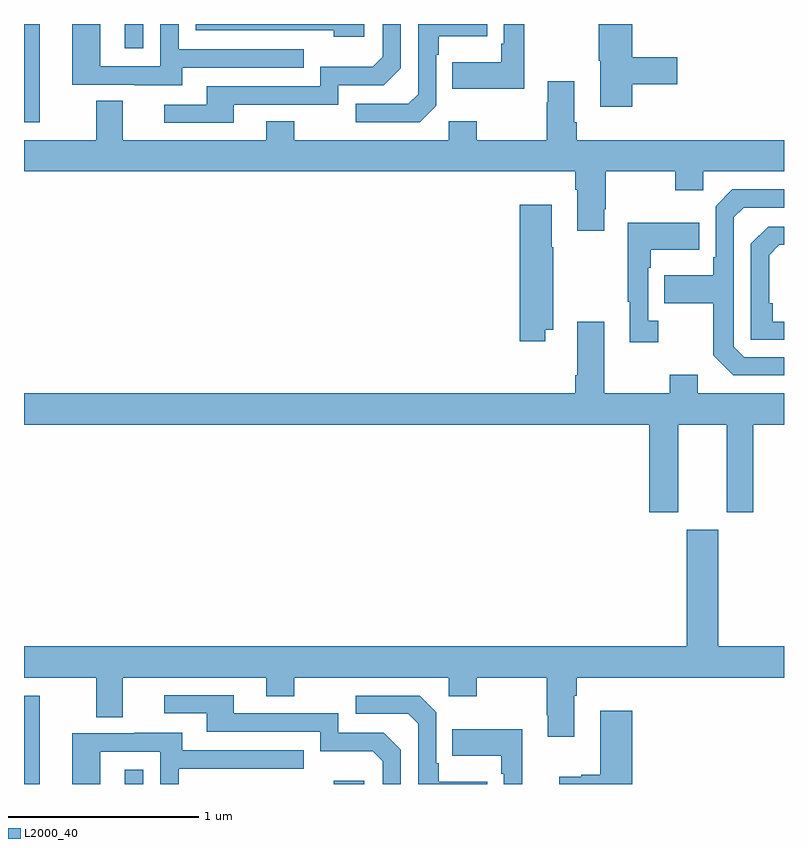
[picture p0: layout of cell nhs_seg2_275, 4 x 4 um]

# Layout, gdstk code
import gdstk
lib = gdstk.Library(unit=1e-6, precision=1e-09)
def R(c, l, rs):  # rectangles x0, y0, x1, y1
    for r in rs: c.add(gdstk.rectangle(r[:2], r[2:], *l))
def P(c, l, *ps):  # polygons
    for p in ps: c.add(gdstk.Polygon(p, *l))
L2000_40 = (2000, 40)

nhs_seg2_275 = lib.new_cell('nhs_seg2_275')
R(nhs_seg2_275, L2000_40, [(125,589.8,125.083,590.265), (125.531,589.8,125.628,589.876), (126.629,589.8,126.79,589.816), (125,593.283,125.083,593.8), (125.531,593.673,125.628,593.8)])
P(nhs_seg2_275, L2000_40, [(126.103,593.376),(126.654,593.376),(126.654,593.478),(126.894,593.478),(126.984,593.568),(126.984,593.8),(126.888,593.8),(126.888,593.628),(126.835,593.575),(126.558,593.575),(126.558,593.472),(125.963,593.472),(125.963,593.376),(125.739,593.376),(125.739,593.28),(126.103,593.28)],
  [(125.833,593.571),(126.473,593.571),(126.473,593.667),(125.814,593.667),(125.814,593.8),(125.718,593.8),(125.718,593.577),(125.4,593.577),(125.4,593.8),(125.255,593.8),(125.255,593.481),(125.579,593.481),(125.579,593.477),(125.833,593.477)],
  [(128.201,593.482),(128.437,593.482),(128.437,593.624),(128.201,593.624),(128.201,593.8),(128.026,593.8),(128.026,593.607),(128.033,593.607),(128.033,593.364),(128.201,593.364)],
  [(127.633,593.8),(127.524,593.8),(127.524,593.695),(127.512,593.695),(127.512,593.599),(127.255,593.599),(127.255,593.459),(127.633,593.459)],
  [(126.79,593.8),(125.904,593.8),(125.904,593.766),(126.629,593.766),(126.629,593.732),(126.79,593.732)],
  [(127.17,593.37),(127.17,593.639),(127.183,593.639),(127.183,593.735),(127.439,593.735),(127.439,593.8),(127.074,593.8),(127.074,593.43),(127.023,593.379),(126.747,593.379),(126.747,593.283),(127.083,593.283)],
  [(128.053,592.825),(128.061,592.825),(128.061,593.024),(128.428,593.024),(128.428,592.925),(128.574,592.925),(128.574,593.024),(129,593.024),(129,593.188),(127.91,593.188),(127.91,593.284),(127.897,593.284),(127.897,593.5),(127.757,593.5),(127.757,593.387),(127.75,593.387),(127.75,593.188),(127.383,593.188),(127.383,593.287),(127.236,593.287),(127.236,593.188),(126.423,593.188),(126.423,593.287),(126.275,593.287),(126.275,593.188),(125.521,593.188),(125.521,593.396),(125.381,593.396),(125.381,593.188),(125,593.188),(125,593.024),(127.901,593.024),(127.901,592.928),(127.913,592.928),(127.913,592.713),(128.053,592.713)],
  [(129,592.047),(128.79,592.047),(128.736,592.101),(128.736,592.782),(128.787,592.833),(129,592.833),(129,592.929),(128.727,592.929),(128.64,592.842),(128.64,592.573),(128.628,592.573),(128.628,592.477),(128.371,592.477),(128.371,592.33),(128.628,592.33),(128.628,592.057),(128.733,591.951),(129,591.951)],
  [(127.744,592.19),(127.785,592.19),(127.785,592.625),(127.777,592.625),(127.777,592.849),(127.61,592.849),(127.61,592.131),(127.744,592.131)],
  [(128.338,592.238),(128.286,592.238),(128.286,592.517),(128.299,592.517),(128.299,592.613),(128.555,592.613),(128.555,592.753),(128.178,592.753),(128.178,592.337),(128.189,592.337),(128.189,592.125),(128.338,592.125)],
  [(129,592.233),(128.942,592.233),(128.942,592.33),(128.922,592.33),(128.922,592.584),(128.975,592.637),(129,592.637),(129,592.734),(128.916,592.734),(128.826,592.644),(128.826,592.137),(129,592.137)],
  [(128.443,591.692),(128.699,591.692),(128.699,591.231),(128.839,591.231),(128.839,591.692),(129,591.692),(129,591.856),(128.545,591.856),(128.545,591.955),(128.398,591.955),(128.398,591.856),(128.053,591.856),(128.053,592.234),(127.913,592.234),(127.913,591.952),(127.901,591.952),(127.901,591.856),(125,591.856),(125,591.692),(128.291,591.692),(128.291,591.231),(128.443,591.231)],
  [(127.897,590.264),(127.91,590.264),(127.91,590.36),(129,590.36),(129,590.524),(128.653,590.524),(128.653,591.139),(128.489,591.139),(128.489,590.524),(125,590.524),(125,590.36),(125.381,590.36),(125.381,590.152),(125.521,590.152),(125.521,590.36),(126.275,590.36),(126.275,590.261),(126.423,590.261),(126.423,590.36),(127.236,590.36),(127.236,590.261),(127.383,590.261),(127.383,590.36),(127.75,590.36),(127.75,590.161),(127.757,590.161),(127.757,590.049),(127.897,590.049)],
  [(126.984,589.98),(126.894,590.07),(126.654,590.07),(126.654,590.172),(126.103,590.172),(126.103,590.268),(125.739,590.268),(125.739,590.172),(125.963,590.172),(125.963,590.076),(126.558,590.076),(126.558,589.973),(126.835,589.973),(126.888,589.92),(126.888,589.8),(126.984,589.8)],
  [(127.439,589.813),(127.183,589.813),(127.183,589.909),(127.17,589.909),(127.17,590.178),(127.083,590.265),(126.747,590.265),(126.747,590.169),(127.023,590.169),(127.074,590.118),(127.074,589.8),(127.439,589.8)],
  [(128.201,590.185),(128.033,590.185),(128.033,589.85),(127.934,589.85),(127.934,589.837),(127.818,589.837),(127.818,589.8),(128.201,589.8)],
  [(127.622,590.089),(127.255,590.089),(127.255,589.949),(127.512,589.949),(127.512,589.853),(127.524,589.853),(127.524,589.8),(127.622,589.8)],
  [(125.4,589.971),(125.718,589.971),(125.718,589.8),(125.814,589.8),(125.814,589.881),(126.473,589.881),(126.473,589.977),(125.833,589.977),(125.833,590.071),(125.579,590.071),(125.579,590.067),(125.255,590.067),(125.255,589.8),(125.4,589.8)])

lib.write_gds('nhs_seg2_275.gds')
